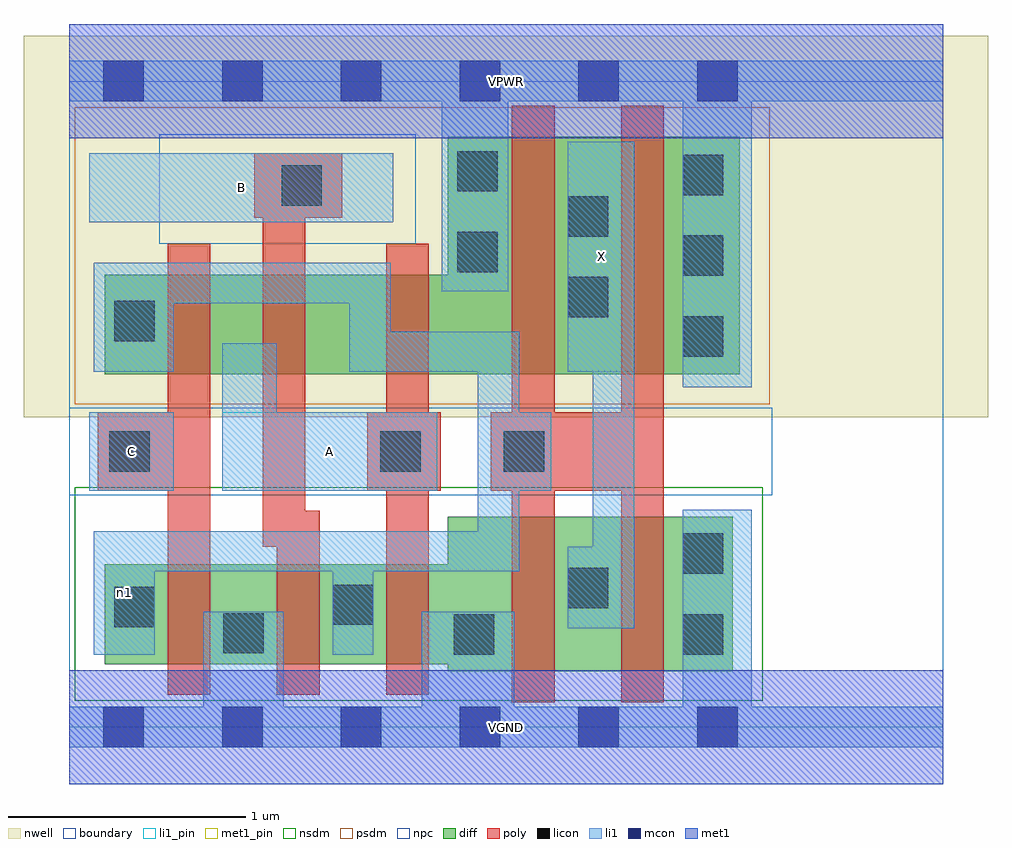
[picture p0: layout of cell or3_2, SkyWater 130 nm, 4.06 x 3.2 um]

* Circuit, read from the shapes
.subckt or3_2 A B C VGND VPWR X n1
XM1 VGND C n1 VSUBS sky130_fd_pr__nfet_01v8 w=0.42 l=0.18
XM2 n1 B VGND VSUBS sky130_fd_pr__nfet_01v8 w=0.42 l=0.18
XM3 VGND A n1 VSUBS sky130_fd_pr__nfet_01v8 w=0.42 l=0.18
XM4 X n1 VGND VSUBS sky130_fd_pr__nfet_01v8 w=0.65 l=0.18 m=2
XM5 n2 C n1 n3 sky130_fd_pr__pfet_01v8 w=0.42 l=0.18
XM6 n4 B n2 n3 sky130_fd_pr__pfet_01v8 w=0.42 l=0.18
XM7 VPWR A n4 n3 sky130_fd_pr__pfet_01v8 w=0.42 l=0.18
XM8 X n1 VPWR n3 sky130_fd_pr__pfet_01v8 w=1 l=0.18 m=2
.ends

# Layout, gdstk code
import gdstk
lib = gdstk.Library(unit=1e-6, precision=1e-09)
def R(c, l, rs):  # rectangles x0, y0, x1, y1
    for r in rs: c.add(gdstk.rectangle(r[:2], r[2:], *l))
def A(c, l, x, y, w, h, nx, ny, dx, dy):  # array of equal rectangles
    R(c, l, [(x+i*dx, y+j*dy, x+i*dx+w, y+j*dy+h) for i in range(nx) for j in range(ny)])
nwell = (64, 20)
diff = (65, 20)
poly = (66, 20)
licon = (66, 44)
li1_pin = (67, 16)
li1 = (67, 20)
mcon = (67, 44)
met1_pin = (68, 16)
met1 = (68, 20)
nsdm = (93, 44)
psdm = (94, 20)
npc = (95, 20)
boundary = (235, 4)

or3_2 = lib.new_cell('or3_2')
R(or3_2, nwell, [(-0.19,1.305,3.87,2.91), (0,1.305,3.68,2.91)])
R(or3_2, diff, [(1.595,0.235,2.795,0.885), (0.15,0.265,2.795,0.685), (0.15,1.485,2.825,1.905), (1.595,1.485,2.825,2.485)])
R(or3_2, poly, [(1.865,0.105,2.045,2.615), (2.325,0.105,2.505,2.615), (0.415,0.135,0.595,2.035), (0.875,0.135,1.055,0.91), (1.335,0.135,1.515,2.035), (0.815,0.76,0.995,2.415), (0.12,0.995,0.595,1.325), (1.255,0.995,1.565,1.325), (1.775,0.995,2.505,1.325), (0.78,2.145,1.15,2.415)])
A(or3_2, licon, 2.585, 1.56, 0.17, 0.17, 1, 3, 0, 0.34)
R(or3_2, licon, [(1.62,0.305,1.79,0.475), (2.585,0.305,2.755,0.475), (0.65,0.31,0.82,0.48), (0.19,0.42,0.36,0.59), (1.11,0.43,1.28,0.6), (2.1,0.5,2.27,0.67), (2.585,0.645,2.755,0.815), (0.17,1.075,0.34,1.245), (1.31,1.075,1.48,1.245), (1.83,1.075,2,1.245), (0.19,1.625,0.36,1.795), (2.1,1.725,2.27,1.895), (1.635,1.915,1.805,2.085), (2.1,2.065,2.27,2.235), (0.895,2.195,1.065,2.365), (1.635,2.255,1.805,2.425)])
R(or3_2, li1_pin, [(0.085,0.995,0.44,1.325), (0.645,0.995,1.55,1.325), (2.1,1.495,2.38,2.465), (0.085,2.125,1.365,2.415)])
R(or3_2, li1, [(0,-0.085,3.68,0.085), (0.565,-0.085,0.905,0.485), (1.485,-0.085,1.875,0.485), (2.585,-0.085,2.875,0.915), (0.105,0.305,0.36,0.825), (1.11,0.305,1.28,0.825), (2.1,0.415,2.38,0.76), (2.205,0.415,2.38,2.465), (0.105,0.655,1.895,0.825), (1.72,0.655,1.895,1.665), (0.085,0.995,0.44,1.325), (0.645,0.995,1.55,1.325), (0.645,0.995,0.875,1.615), (1.72,0.995,2.03,1.325), (2.585,1.43,2.875,2.805), (0.105,1.495,0.44,1.955), (1.18,1.495,1.895,1.665), (1.18,1.495,1.355,1.955), (2.1,1.495,2.38,2.465), (0.105,1.785,1.355,1.955), (1.57,1.835,1.85,2.805), (0.085,2.125,1.365,2.415), (0,2.635,3.68,2.805)])
A(or3_2, mcon, 0.145, -0.085, 0.17, 0.17, 6, 2, 0.5, 2.72)
R(or3_2, met1_pin, [(0,-0.24,3.68,0.24), (0,2.48,3.68,2.96)])
R(or3_2, met1, [(0,-0.24,3.68,0.24), (0,2.48,3.68,2.96)])
R(or3_2, nsdm, [(0.025,0.11,2.92,1.01)])
R(or3_2, psdm, [(0.025,1.36,2.95,2.61)])
R(or3_2, npc, [(0,0.975,2.96,1.345), (0.38,2.035,1.46,2.495)])
R(or3_2, boundary, [(0,0,3.68,2.72)])
or3_2.add(gdstk.Label('A', (1.097,1.16), layer=67, texttype=5))
or3_2.add(gdstk.Label('B', (0.725,2.27), layer=67, texttype=5))
or3_2.add(gdstk.Label('C', (0.262,1.16), layer=67, texttype=5))
or3_2.add(gdstk.Label('X', (2.24,1.98), layer=67, texttype=5))
or3_2.add(gdstk.Label('n1', (0.232,0.565), layer=67, texttype=5))
or3_2.add(gdstk.Label('VPWR', (1.84,2.72), layer=68, texttype=5))
or3_2.add(gdstk.Label('VGND', (1.84,0), layer=68, texttype=5))
or3_2.add(gdstk.Label('A', (1.097,1.16), layer=67, texttype=16))
or3_2.add(gdstk.Label('B', (0.725,2.27), layer=67, texttype=16))
or3_2.add(gdstk.Label('C', (0.262,1.16), layer=67, texttype=16))
or3_2.add(gdstk.Label('X', (2.24,1.98), layer=67, texttype=16))
or3_2.add(gdstk.Label('VPWR', (1.84,2.72), layer=68, texttype=16))
or3_2.add(gdstk.Label('VGND', (1.84,0), layer=68, texttype=16))

lib.write_gds('or3_2.gds')
